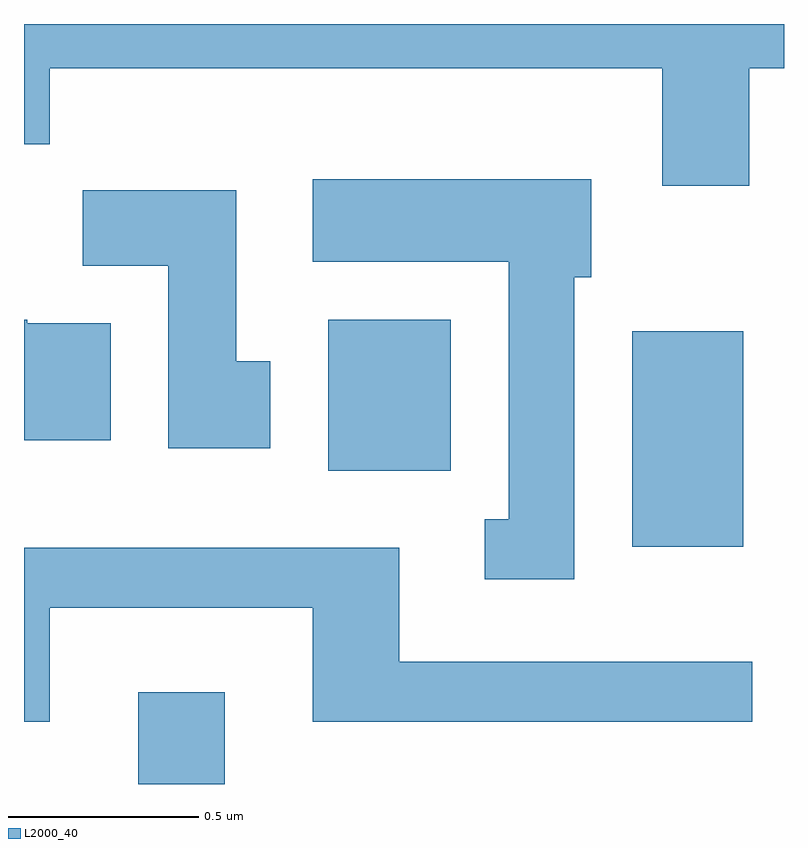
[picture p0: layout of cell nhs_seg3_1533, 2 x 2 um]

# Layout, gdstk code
import gdstk
lib = gdstk.Library(unit=1e-6, precision=1e-09)
def R(c, l, rs):  # rectangles x0, y0, x1, y1
    for r in rs: c.add(gdstk.rectangle(r[:2], r[2:], *l))
def P(c, l, *ps):  # polygons
    for p in ps: c.add(gdstk.Polygon(p, *l))
L2000_40 = (2000, 40)

nhs_seg3_1533 = lib.new_cell('nhs_seg3_1533')
R(nhs_seg3_1533, L2000_40, [(196.911,1141.892,197.139,1142.134), (198.211,1142.516,198.504,1143.084), (197.411,1142.716,197.734,1143.114)])
P(nhs_seg3_1533, L2000_40, [(198.519,1143.776),(198.611,1143.776),(198.611,1143.892),(196.611,1143.892),(196.611,1143.576),(196.679,1143.576),(196.679,1143.776),(198.291,1143.776),(198.291,1143.466),(198.519,1143.466)],
  [(198.059,1143.226),(198.104,1143.226),(198.104,1143.484),(197.371,1143.484),(197.371,1143.266),(197.886,1143.266),(197.886,1142.589),(197.823,1142.589),(197.823,1142.431),(198.059,1142.431)],
  [(197.259,1143.004),(197.169,1143.004),(197.169,1143.454),(196.766,1143.454),(196.766,1143.256),(196.991,1143.256),(196.991,1142.776),(197.259,1142.776)],
  [(196.839,1143.104),(196.62,1143.104),(196.62,1143.114),(196.611,1143.114),(196.611,1142.796),(196.839,1142.796)],
  [(196.679,1142.356),(197.371,1142.356),(197.371,1142.056),(198.528,1142.056),(198.528,1142.214),(197.599,1142.214),(197.599,1142.514),(196.611,1142.514),(196.611,1142.056),(196.679,1142.056)])

lib.write_gds('nhs_seg3_1533.gds')
